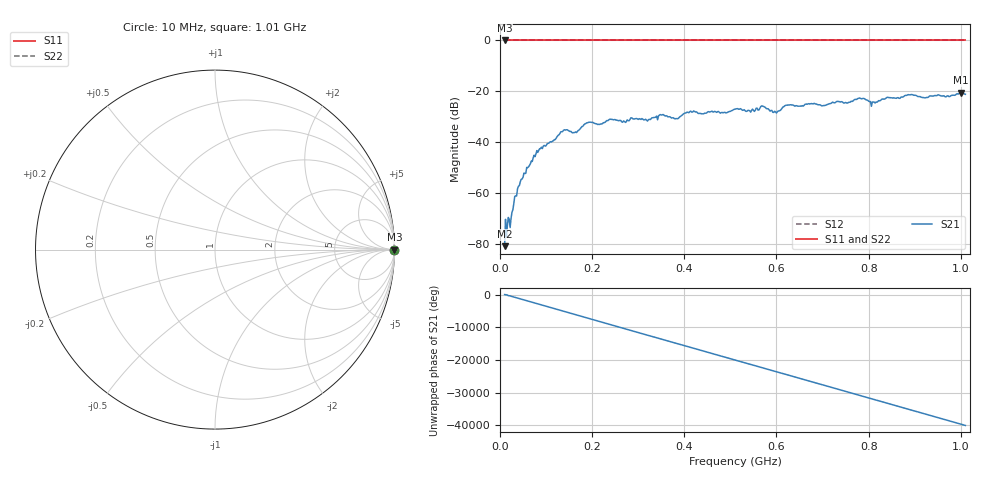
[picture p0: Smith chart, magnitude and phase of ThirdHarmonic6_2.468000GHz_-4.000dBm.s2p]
! 8/17/2025 4:31:10 AM
! C:\ANRITSUVNA\TEMP\TEMP.S2P
! CHANNEL.1
! TR.MEASUREMENT
! RAW.DATA
! RF.CORRECTION.OFF
! AVERAGING.OFF
! IF.BANDWIDTH: 5KHZ
! SWEEPTYPE:  FREQ.SWEEP(Linear)
! Reference Plane Port Info
! PORT:  PORT1  PORT2
! DISTANCE:  0  m  0  m
! TIME:  0  s  0  s
! PHASE.OFFSET:  0  deg.  0  deg.
! LOSS:  0  dB  0  dB
! REF.LOSS:  0  dB  0  dB
! REF.FREQ:  0  Hz  0  Hz
! Power Info
! POWER:  -20  dBm  -20  dBm
! EFF.POWER:  -20  dBm  -20  dBm
! SOURCE.ATTEN:  0  dB  0  dB
! TEST.ATTEN:  0  dB  0  dB
# GHZ S RI R 50.0
! FREQ.GHZ  S11RE  S11IM  S21RE  S21IM  S12RE  S12IM  S22RE  S22IM
!; PortSelection: Port_12
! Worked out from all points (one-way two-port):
!   501 points, 10 MHz to 1.01 GHz, reference 50 ohm
!   highest |S21| = -20.45 dB at 1 GHz (marker M1); lowest = -80.7 dB at 10 MHz (marker M2)
!   lowest |S11| = 0.0 dB at 10 MHz (marker M3)
!   |S11| at or under -10 dB: nowhere
!   |S22| runs from 0.0 to 0.0 dB; largest |S21 - S12| = 1.1
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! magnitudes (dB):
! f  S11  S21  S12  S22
! 10 MHz  0.0  -80.7  0.0  0.0
! 16 MHz  0.0  -72.7  0.0  0.0
! 24 MHz  0.0  -69.8  0.0  0.0
! 42 MHz  0.0  -57.0  0.0  0.0
! 76 MHz  0.0  -45.6  0.0  0.0
! 136 MHz  0.0  -35.7  0.0  0.0
! 162 MHz  0.0  -36.1  0.0  0.0
! 178 MHz  0.0  -33.8  0.0  0.0
! 192 MHz  0.0  -32.1  0.0  0.0
! 344 MHz  0.0  -29.6  0.0  0.0
! 382 MHz  0.0  -30.7  0.0  0.0
! 410 MHz  0.0  -28.3  0.0  0.0
! 510 MHz  0.0  -27.0  0.0  0.0
! 570 MHz  0.0  -25.8  0.0  0.0
! 596 MHz  0.0  -27.8  0.0  0.0
! 622 MHz  0.0  -25.4  0.0  0.0
! 678 MHz  0.0  -24.9  0.0  0.0
! 780 MHz  0.0  -22.6  0.0  0.0
! 810 MHz  0.0  -24.2  0.0  0.0
! 844 MHz  0.0  -22.4  0.0  0.0
! 1 GHz  0.0  -20.5  0.0  0.0
! 1.01 GHz  0.0  -21.1  0.0  0.0
